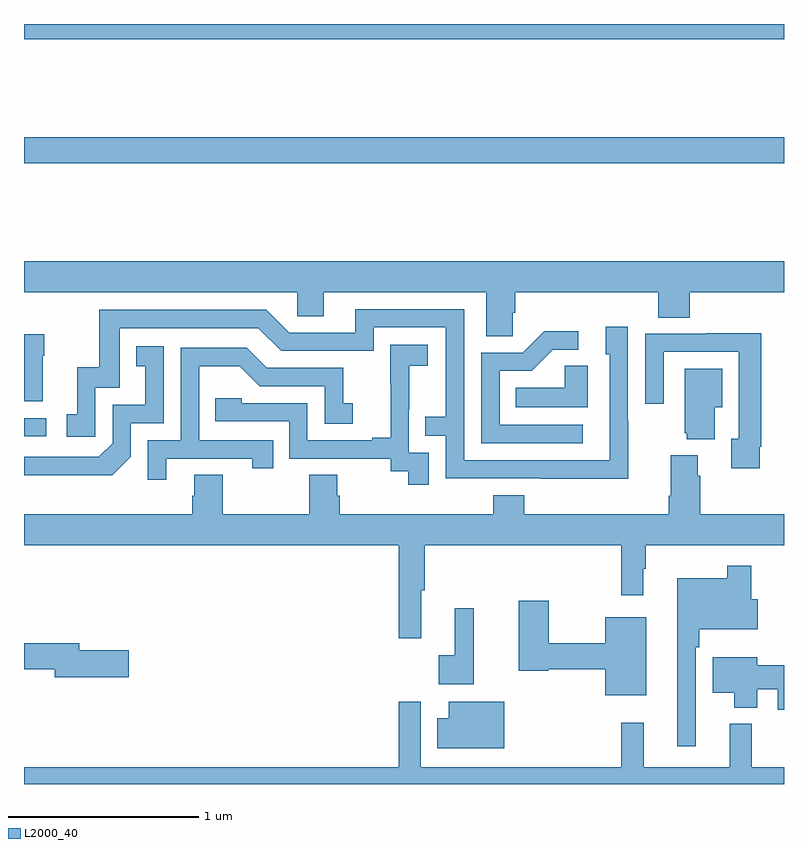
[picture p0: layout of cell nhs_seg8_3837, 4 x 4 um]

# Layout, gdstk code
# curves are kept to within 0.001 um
import gdstk
lib = gdstk.Library(unit=1e-6, precision=1e-09)
def R(c, l, rs):  # rectangles x0, y0, x1, y1
    for r in rs: c.add(gdstk.rectangle(r[:2], r[2:], *l))
def P(c, l, *ps):  # polygons
    for p in ps: c.add(gdstk.Polygon(p, *l))
L2000_40 = (2000, 40)

nhs_seg8_3837 = lib.new_cell('nhs_seg8_3837')
R(nhs_seg8_3837, L2000_40, [(347,1127.73,347.116,1127.826), (347,1129.168,351,1129.304), (347,1129.82,351,1129.9)])
P(nhs_seg8_3837, L2000_40, [(349.572,1128.379),(349.586,1128.379),(349.586,1128.488),(350.339,1128.488),(350.339,1128.355),(350.504,1128.355),(350.504,1128.488),(351,1128.488),(351,1128.652),(347,1128.652),(347,1128.488),(348.438,1128.488),(348.438,1128.361),(348.577,1128.361),(348.577,1128.488),(349.433,1128.488),(349.433,1128.256),(349.572,1128.256)],
  [(350.181,1127.813),(350.178,1127.813),(350.178,1128.307),(350.063,1128.307),(350.063,1128.162),(350.082,1128.162),(350.082,1127.604),(349.317,1127.604),(349.317,1128.399),(348.743,1128.399),(348.743,1128.276),(348.396,1128.276),(348.276,1128.396),(347.397,1128.396),(347.397,1128.094),(347.279,1128.094),(347.279,1127.847),(347.226,1127.847),(347.226,1127.727),(347.376,1127.727),(347.376,1127.985),(347.505,1127.985),(347.505,1128.3),(348.234,1128.3),(348.354,1128.18),(348.84,1128.18),(348.84,1128.303),(349.221,1128.303),(349.221,1127.834),(349.111,1127.834),(349.111,1127.733),(349.221,1127.733),(349.221,1127.508),(350.181,1127.507)],
  [(349.942,1127.79),(349.503,1127.79),(349.503,1128.075),(349.672,1128.075),(349.783,1128.186),(349.918,1128.186),(349.918,1128.284),(349.739,1128.284),(349.626,1128.171),(349.407,1128.171),(349.407,1127.694),(349.942,1127.694)],
  [(350.872,1127.674),(350.879,1127.674),(350.879,1128.272),(350.587,1128.272),(350.587,1128.27),(350.271,1128.27),(350.271,1127.901),(350.367,1127.901),(350.367,1128.174),(350.763,1128.174),(350.763,1127.718),(350.723,1127.718),(350.723,1127.562),(350.872,1127.562)],
  [(347.098,1128.155),(347.106,1128.155),(347.106,1128.268),(347,1128.268),(347,1127.915),(347.098,1127.915)],
  [(349.131,1127.643),(349.026,1127.643),(349.026,1127.873),(349.028,1127.873),(349.028,1128.101),(349.126,1128.101),(349.126,1128.211),(348.928,1128.211),(348.928,1128.005),(348.929,1128.005),(348.929,1127.722),(348.833,1127.722),(348.833,1127.709),(348.492,1127.709),(348.492,1127.904),(348.147,1127.904),(348.147,1127.931),(348.007,1127.931),(348.007,1127.808),(348.396,1127.808),(348.396,1127.613),(348.93,1127.613),(348.93,1127.545),(349.023,1127.545),(349.023,1127.475),(349.131,1127.475)],
  [(347.562,1127.622),(347.562,1127.799),(347.736,1127.799),(347.736,1128.205),(347.59,1128.205),(347.59,1128.099),(347.639,1128.099),(347.639,1127.895),(347.466,1127.895),(347.466,1127.694),(347.394,1127.622),(347,1127.622),(347,1127.526),(347.056,1127.525),(347.464,1127.525)],
  [(347.749,1127.613),(348.2,1127.613),(348.2,1127.562),(348.311,1127.562),(348.311,1127.709),(347.922,1127.709),(347.922,1128.098),(348.136,1128.098),(348.24,1127.994),(348.582,1127.994),(348.582,1127.796),(348.73,1127.796),(348.73,1127.905),(348.681,1127.905),(348.681,1128.09),(348.277,1128.09),(348.172,1128.195),(347.826,1128.195),(347.826,1127.709),(347.652,1127.709),(347.652,1127.502),(347.749,1127.502)],
  [(349.966,1128.101),(349.845,1128.101),(349.845,1127.986),(349.588,1127.986),(349.588,1127.882),(349.966,1127.882)],
  [(350.635,1127.882),(350.674,1127.882),(350.674,1128.085),(350.477,1128.085),(350.477,1127.745),(350.489,1127.745),(350.489,1127.714),(350.635,1127.714)],
  [(349.091,1126.92),(349.109,1126.92),(349.109,1127.156),(350.143,1127.156),(350.143,1126.893),(350.26,1126.893),(350.26,1127.033),(350.272,1127.033),(350.272,1127.156),(351,1127.156),(351,1127.32),(350.558,1127.32),(350.558,1127.522),(350.545,1127.522),(350.545,1127.629),(350.405,1127.629),(350.405,1127.416),(350.393,1127.416),(350.393,1127.32),(349.634,1127.32),(349.634,1127.419),(349.469,1127.419),(349.469,1127.32),(348.662,1127.32),(348.662,1127.418),(348.649,1127.418),(348.649,1127.528),(348.502,1127.528),(348.502,1127.32),(348.045,1127.32),(348.045,1127.528),(347.897,1127.528),(347.897,1127.418),(347.885,1127.418),(347.885,1127.32),(347,1127.32),(347,1127.156),(348.973,1127.156),(348.973,1126.668),(349.091,1126.668)],
  [(350.535,1126.619),(350.555,1126.619),(350.555,1126.715),(350.863,1126.715),(350.863,1126.873),(350.828,1126.873),(350.828,1127.05),(350.7,1127.05),(350.7,1126.984),(350.438,1126.984),(350.438,1126.098),(350.535,1126.098)],
  [(350.275,1126.777),(350.06,1126.777),(350.06,1126.64),(349.762,1126.64),(349.762,1126.864),(349.604,1126.864),(349.604,1126.496),(349.758,1126.496),(349.758,1126.504),(350.06,1126.504),(350.06,1126.367),(350.275,1126.367)],
  [(349.368,1126.825),(349.268,1126.825),(349.268,1126.577),(349.182,1126.577),(349.182,1126.424),(349.368,1126.424)],
  [(347.551,1126.604),(347.29,1126.604),(347.29,1126.64),(347,1126.64),(347,1126.504),(347.162,1126.504),(347.162,1126.462),(347.551,1126.462)],
  [(351,1126.526),(350.86,1126.526),(350.86,1126.567),(350.624,1126.567),(350.624,1126.379),(350.738,1126.379),(350.738,1126.301),(350.86,1126.301),(350.86,1126.398),(350.967,1126.398),(350.967,1126.29),(351,1126.29)],
  [(349.528,1126.333),(349.235,1126.333),(349.235,1126.246),(349.174,1126.246),(349.174,1126.088),(349.528,1126.088)],
  [(351,1125.988),(350.831,1125.988),(350.831,1126.216),(350.714,1126.216),(350.714,1125.988),(350.261,1125.988),(350.261,1126.222),(350.143,1126.222),(350.143,1125.988),(349.089,1125.988),(349.089,1126.333),(348.973,1126.333),(348.973,1125.988),(347,1125.988),(347,1125.9),(351,1125.9)])

lib.write_gds('nhs_seg8_3837.gds')
